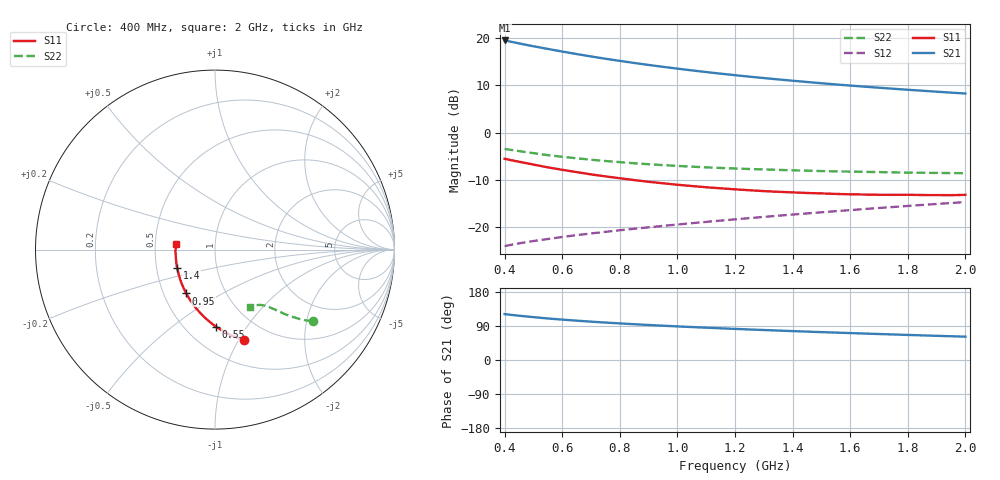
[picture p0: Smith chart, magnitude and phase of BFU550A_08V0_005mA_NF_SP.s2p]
! Filename:  P:\Prog\Test\Noise\ATS_data\Testdata_Net\06 Compressed Noise after Statistics\BFU550A_APG2013_35_C05_08p0V_005mA_NF_CM01_D.sf
! Date/Time: Tue 16/Apr/2013 15:11:27
! BFU550A_APG2013_35_C05_08p0V_1to35mA_NF_CM01_Bias4_R.sf
! Noise Parameter Data File
! BFU550A_APG2013_35_C05_08p0V_1to35mA_NF_CM01
! Date/time: Mon Apr 15 17:49:26 2013
! VAR V_out= 8.000000
! VAR I_out= 4.995000
! VAR V_in= 0.811400
! VAR I_in= 0.050805
! Device data file deembeded for feedlines and parallel
! Original file: \06 Compressed Noise after Statistics\BFU550A_APG2013_35_C05_08p0V_005mA_NF_CM01_R.sf
! Feed-files: PR017V01_150413_Feed1.s2p, PR017V01_150413_Feed2.s2p
! Parallel-file: PR017V01_150413_Par.s2p
# MHz S MA R 50
!  Freq-MHz  S11-mag  S11-arg  S21-mag  S21-arg  S12-mag  S12-arg  S22-mag  S22-arg
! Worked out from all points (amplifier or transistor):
!   37 points, 400 MHz to 2 GHz, reference 50 ohm
!   highest |S21| = 19.5 dB at 400 MHz (marker M1)
!   |S21| within 3 dB of that: start of sweep to 662.3 MHz
!   unconditionally stable (mu >= 1): 1.67 GHz to end of sweep
!   at 500 MHz: K = 0.60, MSG = 20.6 dB, |S12| = -22.9 dB
!   at 1.1 GHz: K = 0.91, MSG = 15.8 dB, |S12| = -18.8 dB
!   at 2 GHz: K = 1.01, MAG = 10.8 dB, |S12| = -14.7 dB
!   lowest NFmin = 0.60 dB at 420 MHz
!   S11 on the Smith chart (normalised r, x): 400 MHz: 0.75, -1.06; 550 MHz: 0.70, -0.73; 950 MHz: 0.65, -0.35; 1.4 GHz: 0.64, -0.14; 2 GHz: 0.64, +0.04
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400  0.5302 -71.9  9.449 121.1  0.06322 60.5  0.6742 -36.2
420  0.5148 -74.5  9.183 119.3  0.06506 60.1  0.6597 -37.0
440  0.5004 -76.9  8.928 117.6  0.0668 59.7  0.6461 -37.7
480  0.4742 -81.4  8.432 114.6  0.07009 59.1  0.6202 -38.9
500  0.461 -83.6  8.206 113.1  0.07167 58.9  0.6087 -39.4
550  0.4305 -89.1  7.693 109.6  0.0753 58.4  0.5795 -40.6
600  0.4057 -93.8  7.218 106.6  0.07908 58.3  0.5568 -41.6
650  0.3835 -98.5  6.785 103.8  0.08271 58.1  0.5369 -42.4
700  0.3631 -103.0  6.405 101.2  0.08614 58.2  0.5186 -43.1
750  0.3457 -107.2  6.055 98.8  0.08962 58.3  0.5024 -43.7
800  0.3303 -111.4  5.747 96.6  0.09315 58.4  0.4888 -44.3
850  0.3159 -115.6  5.463 94.4  0.09659 58.6  0.4754 -44.9
950  0.2922 -123.3  4.974 90.5  0.1035 59.0  0.4547 -45.9
1050  0.2733 -130.6  4.56 86.9  0.1106 59.5  0.4378 -46.8
1100  0.2652 -134.3  4.38 85.2  0.1142 59.7  0.4309 -47.3
1200  0.2521 -141.3  4.059 82.1  0.1215 60.1  0.4187 -48.3
1300  0.2415 -147.8  3.784 79.1  0.1289 60.5  0.4093 -49.3
1400  0.2342 -154.4  3.546 76.3  0.1365 60.8  0.4004 -50.4
1500  0.2284 -160.8  3.335 73.6  0.1442 60.9  0.3933 -51.6
1600  0.2235 -166.5  3.152 71.0  0.1521 61.1  0.3883 -52.9
1750  0.2205 -175.0  2.916 67.3  0.1641 61.2  0.381 -54.8
2000  0.2205 172.4  2.596 61.6  0.1849 61.0  0.3733 -58.6
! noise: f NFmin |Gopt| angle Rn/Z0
400  0.6378  0.2137  20.73  0.1264
460  0.6464  0.1729  31.32  0.1115
600  0.6865  0.1899  34.55  0.1247
800  0.6967  0.1735  56.11  0.1047
1000  0.7088  0.1732  75.52  0.097
1200  0.7485  0.1743  93.2  0.0935
1400  0.7956  0.1742  111.9  0.0899
1600  0.8143  0.1702  132.1  0.0797
1800  0.7987  0.2094  157.3  0.0632
2000  0.8243  0.2039  165.2  0.068
